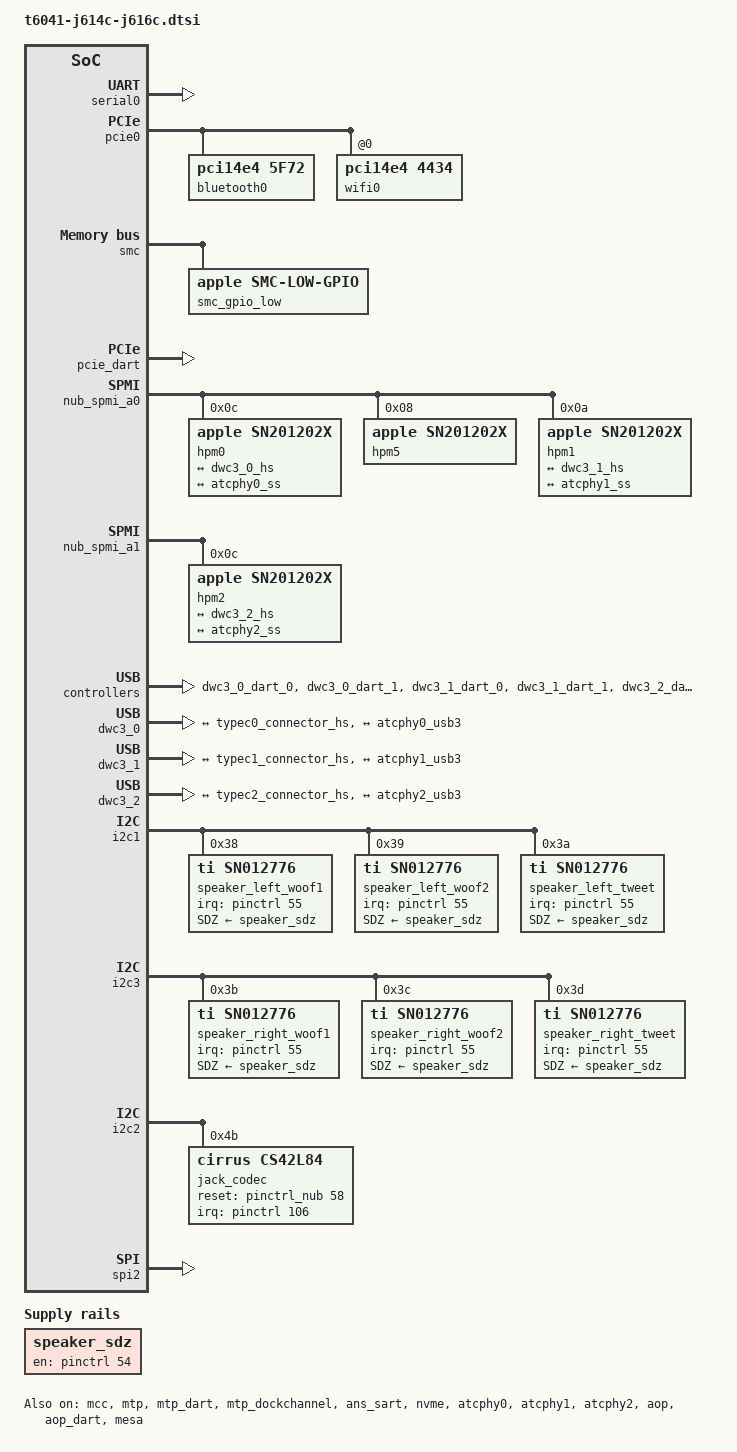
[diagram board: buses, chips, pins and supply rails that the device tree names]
// SPDX-License-Identifier: GPL-2.0+ OR MIT
/*
 * Apple MacBook Pro (14-inch and 16-inch, M4 Max, 2024)
 *
 * The parts the J614c and J616c share. They do not use
 * t604x-j614-j616.dtsi yet: the J616c's trackpad resets, PCIe, keyboard
 * and display chains differ from the J616s's, and are qualified as they
 * are.
 *
 * target-type: J614c / J616c
 *
 * Copyright The Asahi Linux Contributors
 */

#include "t6041-j616c-ane.dtsi"
#include <dt-bindings/gpio/gpio.h>
#include <dt-bindings/thermal/thermal.h>

/ {
	chassis-type = "laptop";

	aliases {
		serial0 = &serial0;
		keyboard = &keyboard;
		wifi0 = "/pcie@1cb0000000/pci@0,0/wifi@0,0";
		bluetooth0 = "/pcie@1cb0000000/pci@0,0/bluetooth@0,1";
		mtp = &mtp;
		dcp = &dcp;
		disp0 = &display;
		disp0-piodma = &disp0_piodma;
		gpu = &gpu;
		sep = &sep;
	};

	chosen {
		#address-cells = <2>;
		#size-cells = <2>;
		ranges;

		stdout-path = "serial0:115200n8";

		framebuffer0: framebuffer@0 {
			compatible = "apple,simple-framebuffer", "simple-framebuffer";
			reg = <0 0 0 0>;
			status = "disabled";
		};
	};

	reserved-memory {
		#address-cells = <2>;
		#size-cells = <2>;
		ranges;
	};

	memory@0 {
		device_type = "memory";
		reg = <0 0 0 0>;
	};

	serial0: serial@429200000 {
		compatible = "apple,s5l-uart";
		reg = <0x4 0x29200000 0x0 0x1000>;
		reg-io-width = <4>;
		interrupt-parent = <&aic>;
		interrupts = <AIC_IRQ 1559 IRQ_TYPE_LEVEL_HIGH>;
		clocks = <&clkref>, <&clkref>;
		clock-names = "uart", "clk_uart_baud0";
	};

	clk_disp0: clock-disp0 {
		compatible = "fixed-clock";
		#clock-cells = <0>;
		clock-frequency = <712000000>;
		clock-output-names = "disp0";
	};

	thermal-zones {
		/*
		 * The PMP's fast die loop is off on these boards (no
		 * apple,fast-die-effort), so these zones are the CPU's only
		 * throttle. The ADT (temp-sensor, fast-die-ctrl-loop) gives the
		 * J614c and J616c the M4 Pro's die limits: a 110 C target and a
		 * 125 C maximum, the sochot level.
		 *
		 * - A zone per SMC core-die sensor runs the power allocator from
		 *   75 C, controls at the 110 C target and throttles only the
		 *   cluster its sensor sits on: Tpx0-5 follow a load on P0,
		 *   Tpx8-D one on P1, Tex0-3 the E cluster. The die zone on TCMz,
		 *   their maximum, controls all three clusters from 115 C as a
		 *   backstop; controlling at 110 C itself, it divided its budget
		 *   by requested power and held P0 at 2.4-2.9 GHz while P1 ran at
		 *   4.1 GHz. The 1 s samples jump by about 10 C, so the zones are
		 *   integral-led.
		 * - The SMC fans follow a power-weighted hot spot (dDT*), not
		 *   TCMz: they only ramp once the CPU runs near 110 C at high
		 *   power, as on macOS. A lower control point holds the power
		 *   below where the fans engage, and the CPU then settles lower.
		 * - sustainable-power is what macOS sustained on a J614c under an
		 *   all-core FMA load: 48-51 W, TCMz 105-110 C. The P clusters
		 *   share one rail meter (PHPC), which reads 25 W with either
		 *   cluster loaded alone, and the E cluster adds about 2 W: 24 W
		 *   per P cluster and 2 W for E.
		 * - Hot at 120 C only reports; critical is the sochot level, after
		 *   three samples.
		 */
		cpu-die-thermal {
			polling-delay-passive = <1000>;
			polling-delay = <1000>;
			integral-time-constant-ms = <20000>;
			critical-samples = <3>;
			sustainable-power = <48000>;
			thermal-sensors = <&smc_hwmon 0>;	/* TCMz */

			trips {
				cpu_die_switch_on: cpu-die-switch-on {
					temperature = <75000>;
					hysteresis = <2000>;
					type = "passive";
				};

				cpu_die_passive: cpu-die-passive {
					temperature = <115000>;
					hysteresis = <5000>;
					type = "passive";
				};

				cpu-die-hot {
					temperature = <120000>;
					hysteresis = <2000>;
					type = "hot";
				};

				cpu-die-critical {
					temperature = <125000>;
					hysteresis = <0>;
					type = "critical";
				};
			};

			cooling-maps {
				map-e {
					trip = <&cpu_die_passive>;
					cooling-device =
						<&cpu_e0 THERMAL_NO_LIMIT THERMAL_NO_LIMIT>,
						<&cpu_e1 THERMAL_NO_LIMIT THERMAL_NO_LIMIT>,
						<&cpu_e2 THERMAL_NO_LIMIT THERMAL_NO_LIMIT>,
						<&cpu_e3 THERMAL_NO_LIMIT THERMAL_NO_LIMIT>;
				};

				map-p0 {
					trip = <&cpu_die_passive>;
					cooling-device =
						<&cpu_p00 THERMAL_NO_LIMIT THERMAL_NO_LIMIT>,
						<&cpu_p01 THERMAL_NO_LIMIT THERMAL_NO_LIMIT>,
						<&cpu_p02 THERMAL_NO_LIMIT THERMAL_NO_LIMIT>,
						<&cpu_p03 THERMAL_NO_LIMIT THERMAL_NO_LIMIT>,
						<&cpu_p04 THERMAL_NO_LIMIT THERMAL_NO_LIMIT>,
						<&cpu_p05 THERMAL_NO_LIMIT THERMAL_NO_LIMIT>;
				};

				map-p1 {
					trip = <&cpu_die_passive>;
					cooling-device =
						<&cpu_p10 THERMAL_NO_LIMIT THERMAL_NO_LIMIT>,
						<&cpu_p11 THERMAL_NO_LIMIT THERMAL_NO_LIMIT>,
						<&cpu_p12 THERMAL_NO_LIMIT THERMAL_NO_LIMIT>,
						<&cpu_p13 THERMAL_NO_LIMIT THERMAL_NO_LIMIT>,
						<&cpu_p14 THERMAL_NO_LIMIT THERMAL_NO_LIMIT>,
						<&cpu_p15 THERMAL_NO_LIMIT THERMAL_NO_LIMIT>;
				};
			};
		};

		cpu-e0-thermal {
			polling-delay-passive = <1000>;
			polling-delay = <1000>;
			integral-time-constant-ms = <20000>;
			critical-samples = <3>;
			sustainable-power = <2000>;
			thermal-sensors = <&smc_hwmon 14>;	/* Tex0 */

			trips {
				cpu_e0_switch_on: trip-switch-on {
					temperature = <75000>;
					hysteresis = <2000>;
					type = "passive";
				};

				cpu_e0_passive: trip-passive {
					temperature = <110000>;
					hysteresis = <5000>;
					type = "passive";
				};

				trip-hot {
					temperature = <120000>;
					hysteresis = <2000>;
					type = "hot";
				};

				trip-critical {
					temperature = <125000>;
					hysteresis = <0>;
					type = "critical";
				};
			};

			cooling-maps {
				map-e {
					trip = <&cpu_e0_passive>;
					cooling-device =
						<&cpu_e0 THERMAL_NO_LIMIT THERMAL_NO_LIMIT>,
						<&cpu_e1 THERMAL_NO_LIMIT THERMAL_NO_LIMIT>,
						<&cpu_e2 THERMAL_NO_LIMIT THERMAL_NO_LIMIT>,
						<&cpu_e3 THERMAL_NO_LIMIT THERMAL_NO_LIMIT>;
				};
			};
		};

		cpu-e1-thermal {
			polling-delay-passive = <1000>;
			polling-delay = <1000>;
			integral-time-constant-ms = <20000>;
			critical-samples = <3>;
			sustainable-power = <2000>;
			thermal-sensors = <&smc_hwmon 15>;	/* Tex1 */

			trips {
				cpu_e1_switch_on: trip-switch-on {
					temperature = <75000>;
					hysteresis = <2000>;
					type = "passive";
				};

				cpu_e1_passive: trip-passive {
					temperature = <110000>;
					hysteresis = <5000>;
					type = "passive";
				};

				trip-hot {
					temperature = <120000>;
					hysteresis = <2000>;
					type = "hot";
				};

				trip-critical {
					temperature = <125000>;
					hysteresis = <0>;
					type = "critical";
				};
			};

			cooling-maps {
				map-e {
					trip = <&cpu_e1_passive>;
					cooling-device =
						<&cpu_e0 THERMAL_NO_LIMIT THERMAL_NO_LIMIT>,
						<&cpu_e1 THERMAL_NO_LIMIT THERMAL_NO_LIMIT>,
						<&cpu_e2 THERMAL_NO_LIMIT THERMAL_NO_LIMIT>,
						<&cpu_e3 THERMAL_NO_LIMIT THERMAL_NO_LIMIT>;
				};
			};
		};

		cpu-e2-thermal {
			polling-delay-passive = <1000>;
			polling-delay = <1000>;
			integral-time-constant-ms = <20000>;
			critical-samples = <3>;
			sustainable-power = <2000>;
			thermal-sensors = <&smc_hwmon 16>;	/* Tex2 */

			trips {
				cpu_e2_switch_on: trip-switch-on {
					temperature = <75000>;
					hysteresis = <2000>;
					type = "passive";
				};

				cpu_e2_passive: trip-passive {
					temperature = <110000>;
					hysteresis = <5000>;
					type = "passive";
				};

				trip-hot {
					temperature = <120000>;
					hysteresis = <2000>;
					type = "hot";
				};

				trip-critical {
					temperature = <125000>;
					hysteresis = <0>;
					type = "critical";
				};
			};

			cooling-maps {
				map-e {
					trip = <&cpu_e2_passive>;
					cooling-device =
						<&cpu_e0 THERMAL_NO_LIMIT THERMAL_NO_LIMIT>,
						<&cpu_e1 THERMAL_NO_LIMIT THERMAL_NO_LIMIT>,
						<&cpu_e2 THERMAL_NO_LIMIT THERMAL_NO_LIMIT>,
						<&cpu_e3 THERMAL_NO_LIMIT THERMAL_NO_LIMIT>;
				};
			};
		};

		cpu-e3-thermal {
			polling-delay-passive = <1000>;
			polling-delay = <1000>;
			integral-time-constant-ms = <20000>;
			critical-samples = <3>;
			sustainable-power = <2000>;
			thermal-sensors = <&smc_hwmon 17>;	/* Tex3 */

			trips {
				cpu_e3_switch_on: trip-switch-on {
					temperature = <75000>;
					hysteresis = <2000>;
					type = "passive";
				};

				cpu_e3_passive: trip-passive {
					temperature = <110000>;
					hysteresis = <5000>;
					type = "passive";
				};

				trip-hot {
					temperature = <120000>;
					hysteresis = <2000>;
					type = "hot";
				};

				trip-critical {
					temperature = <125000>;
					hysteresis = <0>;
					type = "critical";
				};
			};

			cooling-maps {
				map-e {
					trip = <&cpu_e3_passive>;
					cooling-device =
						<&cpu_e0 THERMAL_NO_LIMIT THERMAL_NO_LIMIT>,
						<&cpu_e1 THERMAL_NO_LIMIT THERMAL_NO_LIMIT>,
						<&cpu_e2 THERMAL_NO_LIMIT THERMAL_NO_LIMIT>,
						<&cpu_e3 THERMAL_NO_LIMIT THERMAL_NO_LIMIT>;
				};
			};
		};

		cpu-p00-thermal {
			polling-delay-passive = <1000>;
			polling-delay = <1000>;
			integral-time-constant-ms = <20000>;
			critical-samples = <3>;
			sustainable-power = <24000>;
			thermal-sensors = <&smc_hwmon 2>;	/* Tpx0 */

			trips {
				cpu_p00_switch_on: trip-switch-on {
					temperature = <75000>;
					hysteresis = <2000>;
					type = "passive";
				};

				cpu_p00_passive: trip-passive {
					temperature = <110000>;
					hysteresis = <5000>;
					type = "passive";
				};

				trip-hot {
					temperature = <120000>;
					hysteresis = <2000>;
					type = "hot";
				};

				trip-critical {
					temperature = <125000>;
					hysteresis = <0>;
					type = "critical";
				};
			};

			cooling-maps {
				map-p0 {
					trip = <&cpu_p00_passive>;
					cooling-device =
						<&cpu_p00 THERMAL_NO_LIMIT THERMAL_NO_LIMIT>,
						<&cpu_p01 THERMAL_NO_LIMIT THERMAL_NO_LIMIT>,
						<&cpu_p02 THERMAL_NO_LIMIT THERMAL_NO_LIMIT>,
						<&cpu_p03 THERMAL_NO_LIMIT THERMAL_NO_LIMIT>,
						<&cpu_p04 THERMAL_NO_LIMIT THERMAL_NO_LIMIT>,
						<&cpu_p05 THERMAL_NO_LIMIT THERMAL_NO_LIMIT>;
				};
			};
		};

		cpu-p01-thermal {
			polling-delay-passive = <1000>;
			polling-delay = <1000>;
			integral-time-constant-ms = <20000>;
			critical-samples = <3>;
			sustainable-power = <24000>;
			thermal-sensors = <&smc_hwmon 3>;	/* Tpx1 */

			trips {
				cpu_p01_switch_on: trip-switch-on {
					temperature = <75000>;
					hysteresis = <2000>;
					type = "passive";
				};

				cpu_p01_passive: trip-passive {
					temperature = <110000>;
					hysteresis = <5000>;
					type = "passive";
				};

				trip-hot {
					temperature = <120000>;
					hysteresis = <2000>;
					type = "hot";
				};

				trip-critical {
					temperature = <125000>;
					hysteresis = <0>;
					type = "critical";
				};
			};

			cooling-maps {
				map-p0 {
					trip = <&cpu_p01_passive>;
					cooling-device =
						<&cpu_p00 THERMAL_NO_LIMIT THERMAL_NO_LIMIT>,
						<&cpu_p01 THERMAL_NO_LIMIT THERMAL_NO_LIMIT>,
						<&cpu_p02 THERMAL_NO_LIMIT THERMAL_NO_LIMIT>,
						<&cpu_p03 THERMAL_NO_LIMIT THERMAL_NO_LIMIT>,
						<&cpu_p04 THERMAL_NO_LIMIT THERMAL_NO_LIMIT>,
						<&cpu_p05 THERMAL_NO_LIMIT THERMAL_NO_LIMIT>;
				};
			};
		};

		cpu-p02-thermal {
			polling-delay-passive = <1000>;
			polling-delay = <1000>;
			integral-time-constant-ms = <20000>;
			critical-samples = <3>;
			sustainable-power = <24000>;
			thermal-sensors = <&smc_hwmon 4>;	/* Tpx2 */

			trips {
				cpu_p02_switch_on: trip-switch-on {
					temperature = <75000>;
					hysteresis = <2000>;
					type = "passive";
				};

				cpu_p02_passive: trip-passive {
					temperature = <110000>;
					hysteresis = <5000>;
					type = "passive";
				};

				trip-hot {
					temperature = <120000>;
					hysteresis = <2000>;
					type = "hot";
				};

				trip-critical {
					temperature = <125000>;
					hysteresis = <0>;
					type = "critical";
				};
			};

			cooling-maps {
				map-p0 {
					trip = <&cpu_p02_passive>;
					cooling-device =
						<&cpu_p00 THERMAL_NO_LIMIT THERMAL_NO_LIMIT>,
						<&cpu_p01 THERMAL_NO_LIMIT THERMAL_NO_LIMIT>,
						<&cpu_p02 THERMAL_NO_LIMIT THERMAL_NO_LIMIT>,
						<&cpu_p03 THERMAL_NO_LIMIT THERMAL_NO_LIMIT>,
						<&cpu_p04 THERMAL_NO_LIMIT THERMAL_NO_LIMIT>,
						<&cpu_p05 THERMAL_NO_LIMIT THERMAL_NO_LIMIT>;
				};
			};
		};

		cpu-p03-thermal {
			polling-delay-passive = <1000>;
			polling-delay = <1000>;
			integral-time-constant-ms = <20000>;
			critical-samples = <3>;
			sustainable-power = <24000>;
			thermal-sensors = <&smc_hwmon 5>;	/* Tpx3 */

			trips {
				cpu_p03_switch_on: trip-switch-on {
					temperature = <75000>;
					hysteresis = <2000>;
					type = "passive";
				};

				cpu_p03_passive: trip-passive {
					temperature = <110000>;
					hysteresis = <5000>;
					type = "passive";
				};

				trip-hot {
					temperature = <120000>;
					hysteresis = <2000>;
					type = "hot";
				};

				trip-critical {
					temperature = <125000>;
					hysteresis = <0>;
					type = "critical";
				};
			};

			cooling-maps {
				map-p0 {
					trip = <&cpu_p03_passive>;
					cooling-device =
						<&cpu_p00 THERMAL_NO_LIMIT THERMAL_NO_LIMIT>,
						<&cpu_p01 THERMAL_NO_LIMIT THERMAL_NO_LIMIT>,
						<&cpu_p02 THERMAL_NO_LIMIT THERMAL_NO_LIMIT>,
						<&cpu_p03 THERMAL_NO_LIMIT THERMAL_NO_LIMIT>,
						<&cpu_p04 THERMAL_NO_LIMIT THERMAL_NO_LIMIT>,
						<&cpu_p05 THERMAL_NO_LIMIT THERMAL_NO_LIMIT>;
				};
			};
		};

		cpu-p04-thermal {
			polling-delay-passive = <1000>;
			polling-delay = <1000>;
			integral-time-constant-ms = <20000>;
			critical-samples = <3>;
			sustainable-power = <24000>;
			thermal-sensors = <&smc_hwmon 6>;	/* Tpx4 */

			trips {
				cpu_p04_switch_on: trip-switch-on {
					temperature = <75000>;
					hysteresis = <2000>;
					type = "passive";
				};

				cpu_p04_passive: trip-passive {
					temperature = <110000>;
					hysteresis = <5000>;
					type = "passive";
				};

				trip-hot {
					temperature = <120000>;
					hysteresis = <2000>;
					type = "hot";
				};

				trip-critical {
					temperature = <125000>;
					hysteresis = <0>;
					type = "critical";
				};
			};

			cooling-maps {
				map-p0 {
					trip = <&cpu_p04_passive>;
					cooling-device =
						<&cpu_p00 THERMAL_NO_LIMIT THERMAL_NO_LIMIT>,
						<&cpu_p01 THERMAL_NO_LIMIT THERMAL_NO_LIMIT>,
						<&cpu_p02 THERMAL_NO_LIMIT THERMAL_NO_LIMIT>,
						<&cpu_p03 THERMAL_NO_LIMIT THERMAL_NO_LIMIT>,
						<&cpu_p04 THERMAL_NO_LIMIT THERMAL_NO_LIMIT>,
						<&cpu_p05 THERMAL_NO_LIMIT THERMAL_NO_LIMIT>;
				};
			};
		};

		cpu-p05-thermal {
			polling-delay-passive = <1000>;
			polling-delay = <1000>;
			integral-time-constant-ms = <20000>;
			critical-samples = <3>;
			sustainable-power = <24000>;
			thermal-sensors = <&smc_hwmon 7>;	/* Tpx5 */

			trips {
				cpu_p05_switch_on: trip-switch-on {
					temperature = <75000>;
					hysteresis = <2000>;
					type = "passive";
				};

				cpu_p05_passive: trip-passive {
					temperature = <110000>;
					hysteresis = <5000>;
					type = "passive";
				};

				trip-hot {
					temperature = <120000>;
					hysteresis = <2000>;
					type = "hot";
				};

				trip-critical {
					temperature = <125000>;
					hysteresis = <0>;
					type = "critical";
				};
			};

			cooling-maps {
				map-p0 {
					trip = <&cpu_p05_passive>;
					cooling-device =
						<&cpu_p00 THERMAL_NO_LIMIT THERMAL_NO_LIMIT>,
						<&cpu_p01 THERMAL_NO_LIMIT THERMAL_NO_LIMIT>,
						<&cpu_p02 THERMAL_NO_LIMIT THERMAL_NO_LIMIT>,
						<&cpu_p03 THERMAL_NO_LIMIT THERMAL_NO_LIMIT>,
						<&cpu_p04 THERMAL_NO_LIMIT THERMAL_NO_LIMIT>,
						<&cpu_p05 THERMAL_NO_LIMIT THERMAL_NO_LIMIT>;
				};
			};
		};

		cpu-p10-thermal {
			polling-delay-passive = <1000>;
			polling-delay = <1000>;
			integral-time-constant-ms = <20000>;
			critical-samples = <3>;
			sustainable-power = <24000>;
			thermal-sensors = <&smc_hwmon 8>;	/* Tpx8 */

			trips {
				cpu_p10_switch_on: trip-switch-on {
					temperature = <75000>;
					hysteresis = <2000>;
					type = "passive";
				};

				cpu_p10_passive: trip-passive {
					temperature = <110000>;
					hysteresis = <5000>;
					type = "passive";
				};

				trip-hot {
					temperature = <120000>;
					hysteresis = <2000>;
					type = "hot";
				};

				trip-critical {
					temperature = <125000>;
					hysteresis = <0>;
					type = "critical";
				};
			};

			cooling-maps {
				map-p1 {
					trip = <&cpu_p10_passive>;
					cooling-device =
						<&cpu_p10 THERMAL_NO_LIMIT THERMAL_NO_LIMIT>,
						<&cpu_p11 THERMAL_NO_LIMIT THERMAL_NO_LIMIT>,
						<&cpu_p12 THERMAL_NO_LIMIT THERMAL_NO_LIMIT>,
						<&cpu_p13 THERMAL_NO_LIMIT THERMAL_NO_LIMIT>,
						<&cpu_p14 THERMAL_NO_LIMIT THERMAL_NO_LIMIT>,
						<&cpu_p15 THERMAL_NO_LIMIT THERMAL_NO_LIMIT>;
				};
			};
		};

		cpu-p11-thermal {
			polling-delay-passive = <1000>;
			polling-delay = <1000>;
			integral-time-constant-ms = <20000>;
			critical-samples = <3>;
			sustainable-power = <24000>;
			thermal-sensors = <&smc_hwmon 9>;	/* Tpx9 */

			trips {
				cpu_p11_switch_on: trip-switch-on {
					temperature = <75000>;
					hysteresis = <2000>;
					type = "passive";
				};

				cpu_p11_passive: trip-passive {
					temperature = <110000>;
					hysteresis = <5000>;
					type = "passive";
				};

				trip-hot {
					temperature = <120000>;
					hysteresis = <2000>;
					type = "hot";
				};

				trip-critical {
					temperature = <125000>;
					hysteresis = <0>;
					type = "critical";
				};
			};

			cooling-maps {
				map-p1 {
					trip = <&cpu_p11_passive>;
					cooling-device =
						<&cpu_p10 THERMAL_NO_LIMIT THERMAL_NO_LIMIT>,
						<&cpu_p11 THERMAL_NO_LIMIT THERMAL_NO_LIMIT>,
						<&cpu_p12 THERMAL_NO_LIMIT THERMAL_NO_LIMIT>,
						<&cpu_p13 THERMAL_NO_LIMIT THERMAL_NO_LIMIT>,
						<&cpu_p14 THERMAL_NO_LIMIT THERMAL_NO_LIMIT>,
						<&cpu_p15 THERMAL_NO_LIMIT THERMAL_NO_LIMIT>;
				};
			};
		};

		cpu-p12-thermal {
			polling-delay-passive = <1000>;
			polling-delay = <1000>;
			integral-time-constant-ms = <20000>;
			critical-samples = <3>;
			sustainable-power = <24000>;
			thermal-sensors = <&smc_hwmon 10>;	/* TpxA */

			trips {
				cpu_p12_switch_on: trip-switch-on {
					temperature = <75000>;
					hysteresis = <2000>;
					type = "passive";
				};

				cpu_p12_passive: trip-passive {
					temperature = <110000>;
					hysteresis = <5000>;
					type = "passive";
				};

				trip-hot {
					temperature = <120000>;
					hysteresis = <2000>;
					type = "hot";
				};

				trip-critical {
					temperature = <125000>;
					hysteresis = <0>;
					type = "critical";
				};
			};

			cooling-maps {
				map-p1 {
					trip = <&cpu_p12_passive>;
					cooling-device =
						<&cpu_p10 THERMAL_NO_LIMIT THERMAL_NO_LIMIT>,
						<&cpu_p11 THERMAL_NO_LIMIT THERMAL_NO_LIMIT>,
						<&cpu_p12 THERMAL_NO_LIMIT THERMAL_NO_LIMIT>,
						<&cpu_p13 THERMAL_NO_LIMIT THERMAL_NO_LIMIT>,
						<&cpu_p14 THERMAL_NO_LIMIT THERMAL_NO_LIMIT>,
						<&cpu_p15 THERMAL_NO_LIMIT THERMAL_NO_LIMIT>;
				};
			};
		};

		cpu-p13-thermal {
			polling-delay-passive = <1000>;
			polling-delay = <1000>;
			integral-time-constant-ms = <20000>;
			critical-samples = <3>;
			sustainable-power = <24000>;
			thermal-sensors = <&smc_hwmon 11>;	/* TpxB */

			trips {
				cpu_p13_switch_on: trip-switch-on {
					temperature = <75000>;
					hysteresis = <2000>;
					type = "passive";
				};

				cpu_p13_passive: trip-passive {
					temperature = <110000>;
					hysteresis = <5000>;
					type = "passive";
				};

				trip-hot {
					temperature = <120000>;
					hysteresis = <2000>;
					type = "hot";
				};

				trip-critical {
					temperature = <125000>;
					hysteresis = <0>;
					type = "critical";
				};
			};

			cooling-maps {
				map-p1 {
					trip = <&cpu_p13_passive>;
					cooling-device =
						<&cpu_p10 THERMAL_NO_LIMIT THERMAL_NO_LIMIT>,
						<&cpu_p11 THERMAL_NO_LIMIT THERMAL_NO_LIMIT>,
						<&cpu_p12 THERMAL_NO_LIMIT THERMAL_NO_LIMIT>,
						<&cpu_p13 THERMAL_NO_LIMIT THERMAL_NO_LIMIT>,
						<&cpu_p14 THERMAL_NO_LIMIT THERMAL_NO_LIMIT>,
						<&cpu_p15 THERMAL_NO_LIMIT THERMAL_NO_LIMIT>;
				};
			};
		};

		cpu-p14-thermal {
			polling-delay-passive = <1000>;
			polling-delay = <1000>;
			integral-time-constant-ms = <20000>;
			critical-samples = <3>;
			sustainable-power = <24000>;
			thermal-sensors = <&smc_hwmon 12>;	/* TpxC */

			trips {
				cpu_p14_switch_on: trip-switch-on {
					temperature = <75000>;
					hysteresis = <2000>;
					type = "passive";
				};

				cpu_p14_passive: trip-passive {
					temperature = <110000>;
					hysteresis = <5000>;
					type = "passive";
				};

				trip-hot {
					temperature = <120000>;
					hysteresis = <2000>;
					type = "hot";
				};

				trip-critical {
					temperature = <125000>;
					hysteresis = <0>;
					type = "critical";
				};
			};

			cooling-maps {
				map-p1 {
					trip = <&cpu_p14_passive>;
					cooling-device =
						<&cpu_p10 THERMAL_NO_LIMIT THERMAL_NO_LIMIT>,
						<&cpu_p11 THERMAL_NO_LIMIT THERMAL_NO_LIMIT>,
						<&cpu_p12 THERMAL_NO_LIMIT THERMAL_NO_LIMIT>,
						<&cpu_p13 THERMAL_NO_LIMIT THERMAL_NO_LIMIT>,
						<&cpu_p14 THERMAL_NO_LIMIT THERMAL_NO_LIMIT>,
						<&cpu_p15 THERMAL_NO_LIMIT THERMAL_NO_LIMIT>;
				};
			};
		};

		cpu-p15-thermal {
			polling-delay-passive = <1000>;
			polling-delay = <1000>;
			integral-time-constant-ms = <20000>;
			critical-samples = <3>;
			sustainable-power = <24000>;
			thermal-sensors = <&smc_hwmon 13>;	/* TpxD */

			trips {
				cpu_p15_switch_on: trip-switch-on {
					temperature = <75000>;
					hysteresis = <2000>;
					type = "passive";
				};

				cpu_p15_passive: trip-passive {
					temperature = <110000>;
					hysteresis = <5000>;
					type = "passive";
				};

				trip-hot {
					temperature = <120000>;
					hysteresis = <2000>;
					type = "hot";
				};

				trip-critical {
					temperature = <125000>;
					hysteresis = <0>;
					type = "critical";
				};
			};

			cooling-maps {
				map-p1 {
					trip = <&cpu_p15_passive>;
					cooling-device =
						<&cpu_p10 THERMAL_NO_LIMIT THERMAL_NO_LIMIT>,
						<&cpu_p11 THERMAL_NO_LIMIT THERMAL_NO_LIMIT>,
						<&cpu_p12 THERMAL_NO_LIMIT THERMAL_NO_LIMIT>,
						<&cpu_p13 THERMAL_NO_LIMIT THERMAL_NO_LIMIT>,
						<&cpu_p14 THERMAL_NO_LIMIT THERMAL_NO_LIMIT>,
						<&cpu_p15 THERMAL_NO_LIMIT THERMAL_NO_LIMIT>;
				};
			};
		};

		/*
		 * GPU zones, with the M4 Pro's trips: the GPU firmware limits
		 * itself from 101 C, where these shed CPU power (allocator on at
		 * 90 C), and they shut down at 118 C after three samples. Each
		 * zone reads one of the GPU's hotter sensors; which cluster each
		 * sits on is not known, and under load they read within 1 C.
		 */
		gpu0-thermal {
			polling-delay-passive = <1000>;
			polling-delay = <1000>;
			critical-samples = <3>;
			thermal-sensors = <&smc_hwmon 23>;	/* Tg05 */

			trips {
				gpu0_switch_on: trip-switch-on {
					temperature = <90000>;
					hysteresis = <2000>;
					type = "passive";
				};

				gpu0_passive: trip-passive {
					temperature = <101000>;
					hysteresis = <5000>;
					type = "passive";
				};

				trip-critical {
					temperature = <118000>;
					hysteresis = <0>;
					type = "critical";
				};
			};

			cooling-maps {
				map-e {
					trip = <&gpu0_passive>;
					cooling-device =
						<&cpu_e0 THERMAL_NO_LIMIT THERMAL_NO_LIMIT>,
						<&cpu_e1 THERMAL_NO_LIMIT THERMAL_NO_LIMIT>,
						<&cpu_e2 THERMAL_NO_LIMIT THERMAL_NO_LIMIT>,
						<&cpu_e3 THERMAL_NO_LIMIT THERMAL_NO_LIMIT>;
				};

				map-p0 {
					trip = <&gpu0_passive>;
					cooling-device =
						<&cpu_p00 THERMAL_NO_LIMIT THERMAL_NO_LIMIT>,
						<&cpu_p01 THERMAL_NO_LIMIT THERMAL_NO_LIMIT>,
						<&cpu_p02 THERMAL_NO_LIMIT THERMAL_NO_LIMIT>,
						<&cpu_p03 THERMAL_NO_LIMIT THERMAL_NO_LIMIT>,
						<&cpu_p04 THERMAL_NO_LIMIT THERMAL_NO_LIMIT>,
						<&cpu_p05 THERMAL_NO_LIMIT THERMAL_NO_LIMIT>;
				};

				map-p1 {
					trip = <&gpu0_passive>;
					cooling-device =
						<&cpu_p10 THERMAL_NO_LIMIT THERMAL_NO_LIMIT>,
						<&cpu_p11 THERMAL_NO_LIMIT THERMAL_NO_LIMIT>,
						<&cpu_p12 THERMAL_NO_LIMIT THERMAL_NO_LIMIT>,
						<&cpu_p13 THERMAL_NO_LIMIT THERMAL_NO_LIMIT>,
						<&cpu_p14 THERMAL_NO_LIMIT THERMAL_NO_LIMIT>,
						<&cpu_p15 THERMAL_NO_LIMIT THERMAL_NO_LIMIT>;
				};
			};
		};

		gpu1-thermal {
			polling-delay-passive = <1000>;
			polling-delay = <1000>;
			critical-samples = <3>;
			thermal-sensors = <&smc_hwmon 39>;	/* Tg1V */

			trips {
				gpu1_switch_on: trip-switch-on {
					temperature = <90000>;
					hysteresis = <2000>;
					type = "passive";
				};

				gpu1_passive: trip-passive {
					temperature = <101000>;
					hysteresis = <5000>;
					type = "passive";
				};

				trip-critical {
					temperature = <118000>;
					hysteresis = <0>;
					type = "critical";
				};
			};

			cooling-maps {
				map-e {
					trip = <&gpu1_passive>;
					cooling-device =
						<&cpu_e0 THERMAL_NO_LIMIT THERMAL_NO_LIMIT>,
						<&cpu_e1 THERMAL_NO_LIMIT THERMAL_NO_LIMIT>,
						<&cpu_e2 THERMAL_NO_LIMIT THERMAL_NO_LIMIT>,
						<&cpu_e3 THERMAL_NO_LIMIT THERMAL_NO_LIMIT>;
				};

				map-p0 {
					trip = <&gpu1_passive>;
					cooling-device =
						<&cpu_p00 THERMAL_NO_LIMIT THERMAL_NO_LIMIT>,
						<&cpu_p01 THERMAL_NO_LIMIT THERMAL_NO_LIMIT>,
						<&cpu_p02 THERMAL_NO_LIMIT THERMAL_NO_LIMIT>,
						<&cpu_p03 THERMAL_NO_LIMIT THERMAL_NO_LIMIT>,
						<&cpu_p04 THERMAL_NO_LIMIT THERMAL_NO_LIMIT>,
						<&cpu_p05 THERMAL_NO_LIMIT THERMAL_NO_LIMIT>;
				};

				map-p1 {
					trip = <&gpu1_passive>;
					cooling-device =
						<&cpu_p10 THERMAL_NO_LIMIT THERMAL_NO_LIMIT>,
						<&cpu_p11 THERMAL_NO_LIMIT THERMAL_NO_LIMIT>,
						<&cpu_p12 THERMAL_NO_LIMIT THERMAL_NO_LIMIT>,
						<&cpu_p13 THERMAL_NO_LIMIT THERMAL_NO_LIMIT>,
						<&cpu_p14 THERMAL_NO_LIMIT THERMAL_NO_LIMIT>,
						<&cpu_p15 THERMAL_NO_LIMIT THERMAL_NO_LIMIT>;
				};
			};
		};

		gpu2-thermal {
			polling-delay-passive = <1000>;
			polling-delay = <1000>;
			critical-samples = <3>;
			thermal-sensors = <&smc_hwmon 46>;	/* Tg2Q */

			trips {
				gpu2_switch_on: trip-switch-on {
					temperature = <90000>;
					hysteresis = <2000>;
					type = "passive";
				};

				gpu2_passive: trip-passive {
					temperature = <101000>;
					hysteresis = <5000>;
					type = "passive";
				};

				trip-critical {
					temperature = <118000>;
					hysteresis = <0>;
					type = "critical";
				};
			};

			cooling-maps {
				map-e {
					trip = <&gpu2_passive>;
					cooling-device =
						<&cpu_e0 THERMAL_NO_LIMIT THERMAL_NO_LIMIT>,
						<&cpu_e1 THERMAL_NO_LIMIT THERMAL_NO_LIMIT>,
						<&cpu_e2 THERMAL_NO_LIMIT THERMAL_NO_LIMIT>,
						<&cpu_e3 THERMAL_NO_LIMIT THERMAL_NO_LIMIT>;
				};

				map-p0 {
					trip = <&gpu2_passive>;
					cooling-device =
						<&cpu_p00 THERMAL_NO_LIMIT THERMAL_NO_LIMIT>,
						<&cpu_p01 THERMAL_NO_LIMIT THERMAL_NO_LIMIT>,
						<&cpu_p02 THERMAL_NO_LIMIT THERMAL_NO_LIMIT>,
						<&cpu_p03 THERMAL_NO_LIMIT THERMAL_NO_LIMIT>,
						<&cpu_p04 THERMAL_NO_LIMIT THERMAL_NO_LIMIT>,
						<&cpu_p05 THERMAL_NO_LIMIT THERMAL_NO_LIMIT>;
				};

				map-p1 {
					trip = <&gpu2_passive>;
					cooling-device =
						<&cpu_p10 THERMAL_NO_LIMIT THERMAL_NO_LIMIT>,
						<&cpu_p11 THERMAL_NO_LIMIT THERMAL_NO_LIMIT>,
						<&cpu_p12 THERMAL_NO_LIMIT THERMAL_NO_LIMIT>,
						<&cpu_p13 THERMAL_NO_LIMIT THERMAL_NO_LIMIT>,
						<&cpu_p14 THERMAL_NO_LIMIT THERMAL_NO_LIMIT>,
						<&cpu_p15 THERMAL_NO_LIMIT THERMAL_NO_LIMIT>;
				};
			};
		};

		gpu3-thermal {
			polling-delay-passive = <1000>;
			polling-delay = <1000>;
			critical-samples = <3>;
			thermal-sensors = <&smc_hwmon 54>;	/* Tg3q */

			trips {
				gpu3_switch_on: trip-switch-on {
					temperature = <90000>;
					hysteresis = <2000>;
					type = "passive";
				};

				gpu3_passive: trip-passive {
					temperature = <101000>;
					hysteresis = <5000>;
					type = "passive";
				};

				trip-critical {
					temperature = <118000>;
					hysteresis = <0>;
					type = "critical";
				};
			};

			cooling-maps {
				map-e {
					trip = <&gpu3_passive>;
					cooling-device =
						<&cpu_e0 THERMAL_NO_LIMIT THERMAL_NO_LIMIT>,
						<&cpu_e1 THERMAL_NO_LIMIT THERMAL_NO_LIMIT>,
						<&cpu_e2 THERMAL_NO_LIMIT THERMAL_NO_LIMIT>,
						<&cpu_e3 THERMAL_NO_LIMIT THERMAL_NO_LIMIT>;
				};

				map-p0 {
					trip = <&gpu3_passive>;
					cooling-device =
						<&cpu_p00 THERMAL_NO_LIMIT THERMAL_NO_LIMIT>,
						<&cpu_p01 THERMAL_NO_LIMIT THERMAL_NO_LIMIT>,
						<&cpu_p02 THERMAL_NO_LIMIT THERMAL_NO_LIMIT>,
						<&cpu_p03 THERMAL_NO_LIMIT THERMAL_NO_LIMIT>,
						<&cpu_p04 THERMAL_NO_LIMIT THERMAL_NO_LIMIT>,
						<&cpu_p05 THERMAL_NO_LIMIT THERMAL_NO_LIMIT>;
				};

				map-p1 {
					trip = <&gpu3_passive>;
					cooling-device =
						<&cpu_p10 THERMAL_NO_LIMIT THERMAL_NO_LIMIT>,
						<&cpu_p11 THERMAL_NO_LIMIT THERMAL_NO_LIMIT>,
						<&cpu_p12 THERMAL_NO_LIMIT THERMAL_NO_LIMIT>,
						<&cpu_p13 THERMAL_NO_LIMIT THERMAL_NO_LIMIT>,
						<&cpu_p14 THERMAL_NO_LIMIT THERMAL_NO_LIMIT>,
						<&cpu_p15 THERMAL_NO_LIMIT THERMAL_NO_LIMIT>;
				};
			};
		};
	};
};

&cpuidle {
	status = "okay";
};

&cpufreq_e {
	/delete-property/ apple,fast-die-effort;
};

&cpufreq_p0 {
	/delete-property/ apple,fast-die-effort;
};

&cpufreq_p1 {
	/delete-property/ apple,fast-die-effort;
};

&wdt {
	timeout-sec = <140>;
};

&smc {
	status = "okay";

	smc_gpio_low: gpio-low {
		compatible = "apple,smc-low-gpio";
		gpio-controller;
		#gpio-cells = <2>;
	};
};

&smc_mbox {
	status = "okay";
};

&nub_spmi0 {
	status = "okay";
};

&mcc {
	status = "okay";
};

&smc_hwmon {
	temperature-TCMz {
		apple,key-id = "TCMz";
		label = "CPU Die Max";
	};

	temperature-TCMb {
		apple,key-id = "TCMb";
		label = "CPU TCMb";
	};

	temperature-Tpx0 {
		apple,key-id = "Tpx0";
		label = "CPU Tpx0";
	};

	temperature-Tpx1 {
		apple,key-id = "Tpx1";
		label = "CPU Tpx1";
	};

	temperature-Tpx2 {
		apple,key-id = "Tpx2";
		label = "CPU Tpx2";
	};

	temperature-Tpx3 {
		apple,key-id = "Tpx3";
		label = "CPU Tpx3";
	};

	temperature-Tpx4 {
		apple,key-id = "Tpx4";
		label = "CPU Tpx4";
	};

	temperature-Tpx5 {
		apple,key-id = "Tpx5";
		label = "CPU Tpx5";
	};

	temperature-Tpx8 {
		apple,key-id = "Tpx8";
		label = "CPU Tpx8";
	};

	temperature-Tpx9 {
		apple,key-id = "Tpx9";
		label = "CPU Tpx9";
	};

	temperature-TpxA {
		apple,key-id = "TpxA";
		label = "CPU TpxA";
	};

	temperature-TpxB {
		apple,key-id = "TpxB";
		label = "CPU TpxB";
	};

	temperature-TpxC {
		apple,key-id = "TpxC";
		label = "CPU TpxC";
	};

	temperature-TpxD {
		apple,key-id = "TpxD";
		label = "CPU TpxD";
	};

	temperature-Tex0 {
		apple,key-id = "Tex0";
		label = "CPU Tex0";
	};

	temperature-Tex1 {
		apple,key-id = "Tex1";
		label = "CPU Tex1";
	};

	temperature-Tex2 {
		apple,key-id = "Tex2";
		label = "CPU Tex2";
	};

	temperature-Tex3 {
		apple,key-id = "Tex3";
		label = "CPU Tex3";
	};

	temperature-TH0x {
		apple,key-id = "TH0x";
		label = "NAND Flash Temperature";
	};

	temperature-TB0T {
		apple,key-id = "TB0T";
		label = "Battery Hotspot";
	};

	temperature-TCHP {
		apple,key-id = "TCHP";
		label = "Charge Regulator Temp";
	};

	temperature-TW0P {
		apple,key-id = "TW0P";
		label = "WiFi/BT Module Temp";
	};

	/*
	 * The 33 GPU sensors of the J614c SMC key table (macOS 26.6.2). All
	 * rose 15-17 C together under a GPU load. Sixteen read about 5.5 C
	 * above the other seventeen, idle and loaded; the GPU zones use those.
	 * While the GPU is powered off the SMC publishes placeholders below
	 * 10 C, as on the M4 Pro.
	 */
	temperature-Tg04 {
		apple,key-id = "Tg04";
		label = "GPU Tg04";
		apple,no-data-below-millicelsius = <10000>;
	};

	temperature-Tg05 {
		apple,key-id = "Tg05";
		label = "GPU Tg05";
		apple,no-data-below-millicelsius = <10000>;
	};

	temperature-Tg0K {
		apple,key-id = "Tg0K";
		label = "GPU Tg0K";
		apple,no-data-below-millicelsius = <10000>;
	};

	temperature-Tg0L {
		apple,key-id = "Tg0L";
		label = "GPU Tg0L";
		apple,no-data-below-millicelsius = <10000>;
	};

	temperature-Tg0R {
		apple,key-id = "Tg0R";
		label = "GPU Tg0R";
		apple,no-data-below-millicelsius = <10000>;
	};

	temperature-Tg0S {
		apple,key-id = "Tg0S";
		label = "GPU Tg0S";
		apple,no-data-below-millicelsius = <10000>;
	};

	temperature-Tg0X {
		apple,key-id = "Tg0X";
		label = "GPU Tg0X";
		apple,no-data-below-millicelsius = <10000>;
	};

	temperature-Tg0Y {
		apple,key-id = "Tg0Y";
		label = "GPU Tg0Y";
		apple,no-data-below-millicelsius = <10000>;
	};

	temperature-Tg0d {
		apple,key-id = "Tg0d";
		label = "GPU Tg0d";
		apple,no-data-below-millicelsius = <10000>;
	};

	temperature-Tg0e {
		apple,key-id = "Tg0e";
		label = "GPU Tg0e";
		apple,no-data-below-millicelsius = <10000>;
	};

	temperature-Tg0j {
		apple,key-id = "Tg0j";
		label = "GPU Tg0j";
		apple,no-data-below-millicelsius = <10000>;
	};

	temperature-Tg0k {
		apple,key-id = "Tg0k";
		label = "GPU Tg0k";
		apple,no-data-below-millicelsius = <10000>;
	};

	temperature-Tg0y {
		apple,key-id = "Tg0y";
		label = "GPU Tg0y";
		apple,no-data-below-millicelsius = <10000>;
	};

	temperature-Tg0z {
		apple,key-id = "Tg0z";
		label = "GPU Tg0z";
		apple,no-data-below-millicelsius = <10000>;
	};

	temperature-Tg1E {
		apple,key-id = "Tg1E";
		label = "GPU Tg1E";
		apple,no-data-below-millicelsius = <10000>;
	};

	temperature-Tg1F {
		apple,key-id = "Tg1F";
		label = "GPU Tg1F";
		apple,no-data-below-millicelsius = <10000>;
	};

	temperature-Tg1U {
		apple,key-id = "Tg1U";
		label = "GPU Tg1U";
		apple,no-data-below-millicelsius = <10000>;
	};

	temperature-Tg1V {
		apple,key-id = "Tg1V";
		label = "GPU Tg1V";
		apple,no-data-below-millicelsius = <10000>;
	};

	temperature-Tg1c {
		apple,key-id = "Tg1c";
		label = "GPU Tg1c";
		apple,no-data-below-millicelsius = <10000>;
	};

	temperature-Tg1d {
		apple,key-id = "Tg1d";
		label = "GPU Tg1d";
		apple,no-data-below-millicelsius = <10000>;
	};

	temperature-Tg1k {
		apple,key-id = "Tg1k";
		label = "GPU Tg1k";
		apple,no-data-below-millicelsius = <10000>;
	};

	temperature-Tg1l {
		apple,key-id = "Tg1l";
		label = "GPU Tg1l";
		apple,no-data-below-millicelsius = <10000>;
	};

	temperature-Tg22 {
		apple,key-id = "Tg22";
		label = "GPU Tg22";
		apple,no-data-below-millicelsius = <10000>;
	};

	temperature-Tg2I {
		apple,key-id = "Tg2I";
		label = "GPU Tg2I";
		apple,no-data-below-millicelsius = <10000>;
	};

	temperature-Tg2Q {
		apple,key-id = "Tg2Q";
		label = "GPU Tg2Q";
		apple,no-data-below-millicelsius = <10000>;
	};

	temperature-Tg2Y {
		apple,key-id = "Tg2Y";
		label = "GPU Tg2Y";
		apple,no-data-below-millicelsius = <10000>;
	};

	temperature-Tg2g {
		apple,key-id = "Tg2g";
		label = "GPU Tg2g";
		apple,no-data-below-millicelsius = <10000>;
	};

	temperature-Tg2o {
		apple,key-id = "Tg2o";
		label = "GPU Tg2o";
		apple,no-data-below-millicelsius = <10000>;
	};

	temperature-Tg34 {
		apple,key-id = "Tg34";
		label = "GPU Tg34";
		apple,no-data-below-millicelsius = <10000>;
	};

	temperature-Tg3K {
		apple,key-id = "Tg3K";
		label = "GPU Tg3K";
		apple,no-data-below-millicelsius = <10000>;
	};

	temperature-Tg3a {
		apple,key-id = "Tg3a";
		label = "GPU Tg3a";
		apple,no-data-below-millicelsius = <10000>;
	};

	temperature-Tg3i {
		apple,key-id = "Tg3i";
		label = "GPU Tg3i";
		apple,no-data-below-millicelsius = <10000>;
	};

	temperature-Tg3q {
		apple,key-id = "Tg3q";
		label = "GPU Tg3q";
		apple,no-data-below-millicelsius = <10000>;
	};

	power-PSTR {
		apple,key-id = "PSTR";
		label = "Total System Power";
	};

	power-PHPC {
		apple,key-id = "PHPC";
		label = "Heatpipe Power";
	};

	power-PDTR {
		apple,key-id = "PDTR";
		label = "AC Input Power";
	};

	voltage-VD0R {
		apple,key-id = "VD0R";
		label = "AC Input Voltage";
	};

	voltage-SBAV {
		apple,key-id = "SBAV";
		label = "Battery Voltage";
	};

	current-ID0R {
		apple,key-id = "ID0R";
		label = "AC Input Current";
	};
};

&pinctrl {
	status = "okay";

	wifi_clkreq_pins: wifi-clkreq-pins {
		pinmux = <APPLE_PINMUX(0, 1)>;
	};
};

&pinctrl_nub {
	status = "okay";
	/delete-property/ interrupt-controller;
	/delete-property/ #interrupt-cells;
	/delete-property/ interrupts;
};

&mtp {
	status = "okay";
};

&mtp_mbox {
	status = "okay";
};

&mtp_dart {
	status = "okay";
};

&mtp_dockchannel {
	status = "okay";
};

&mtp_hid {
	compatible = "apple,dockchannel-hid";
	apple,afe-reset-gpios = <&smc_gpio_low 25 GPIO_ACTIVE_LOW>;
	apple,stm-reset-gpios = <&smc_gpio_low 26 GPIO_ACTIVE_LOW>;

	multi-touch {
		apple,power-method = <2>;
	};

	keyboard: keyboard {
		hid-country-code = <0>;
		apple,keyboard-layout-id = <0>;
	};

	stm {
	};

	actuator {
	};

	tp-accel {
	};

	mtp {
	};
};

&pcie_dart {
	status = "okay";
};

/ {
	pcie0: pcie@1cb0000000 {
		compatible = "apple,t6041-pcie", "apple,t6020-pcie";
		reg = <0x1c 0xb0000000 0x0 0x1000000>,
		      <0x4 0x14000000 0x0 0x4000>,
		      <0x4 0x10028000 0x0 0x4000>,
		      <0x4 0x11028000 0x0 0x4000>,
		      <0x4 0x12028000 0x0 0x4000>,
		      <0x4 0x13028000 0x0 0x4000>,
		      <0x4 0x17020000 0x0 0x4000>,
		      <0x4 0x17024000 0x0 0x4000>,
		      <0x4 0x17028000 0x0 0x4000>,
		      <0x4 0x1702c000 0x0 0x4000>;
		reg-names = "config", "rc",
			    "port0", "port1", "port2", "port3",
			    "phy0", "phy1", "phy2", "phy3";
		ranges = <0x43000000 0xb 0xc0000000 0xb 0xc0000000 0x0 0x20000000>,
			 <0x02000000 0x0 0x80000000 0xb 0x80000000 0x0 0x40000000>;
		pinctrl-names = "default";
		pinctrl-0 = <&wifi_clkreq_pins>;
		#address-cells = <3>;
		#size-cells = <2>;
		bus-range = <0 1>;
		iommu-map-mask = <0xffff>;
		iommu-map = <0x100 &pcie_dart 1 2>;
		msi-ranges = <&aic AIC_IRQ 2071 IRQ_TYPE_EDGE_RISING 32>;
		msi-parent = <&pcie0>;
		msi-controller;
		interrupts = <AIC_IRQ 1723 IRQ_TYPE_LEVEL_HIGH>;
		interrupt-parent = <&aic>;
		device_type = "pci";

		port00: pci@0,0 {
			reg = <0 0 0 0 0>;
			ranges;
			interrupt-map = <0 0 0 1 &port00 0 0 0 0>,
					<0 0 0 2 &port00 0 0 0 1>,
					<0 0 0 3 &port00 0 0 0 2>,
					<0 0 0 4 &port00 0 0 0 3>;
			interrupt-map-mask = <0 0 0 7>;
			#interrupt-cells = <1>;
			interrupt-controller;
			#address-cells = <3>;
			#size-cells = <2>;
			pwren-gpios = <&smc_gpio 0x13 GPIO_ACTIVE_HIGH>;
			reset-gpios = <&pinctrl 4 GPIO_ACTIVE_LOW>;
			device_type = "pci";

			bluetooth0: bluetooth@0,1 {
				compatible = "pci14e4,5f72";
				reg = <0x100 0 0 0 0>;
				local-bd-address = [00 00 00 00 00 00];
				status = "okay";
			};

			wifi0: wifi@0,0 {
				compatible = "pci14e4,4434", "brcm,bcm4329-fmac";
				reg = <0 0 0 0 0>;
				brcm,ccode-map-trivial;
			};
		};
	};
};

&ans_mbox {
	status = "okay";
};

&ans_sart {
	status = "okay";
};

&nvme {
	status = "okay";
};

/*
 * As on the J616s, the display gate enables the display subsystem, the DCP,
 * its DARTs, mailbox and panel once the boot loader has handed the internal
 * display over (apple,t6041-handoff); otherwise the boot framebuffer stays.
 */
&display {
	phandle = <&display>;
};

&dcp {
	clocks = <&clk_disp0>;
	phandle = <&dcp>;

	panel: panel {
		apple,max-brightness = <500>;
		status = "disabled";
	};
};

&disp0_piodma {
	phandle = <&disp0_piodma>;
};

&nub_spmi_a0 {
	status = "okay";

	/*
	 * The left-back port and the MagSafe controller, as on the M4 Pro boards.
	 * The J614c's ADT has nub-spmi-a0 hpm0 (left-back, port 1, 0xc) and hpm5
	 * (0x8) with the J614s's event, sleep and wake interrupts.
	 */
	hpm0: usb-pd@c {
		compatible = "apple,sn201202x";
		reg = <0xc SPMI_USID>;
		interrupts = <11 IRQ_TYPE_EDGE_RISING>,
			     <13 IRQ_TYPE_EDGE_RISING>,
			     <17 IRQ_TYPE_EDGE_RISING>,
			     <19 IRQ_TYPE_EDGE_RISING>;
		interrupt-names = "irq", "select", "sleep", "wake";

		typec0: connector {
			compatible = "usb-c-connector";
			label = "USB-C Left Back";
			power-role = "dual";
			data-role = "dual";

			ports {
				#address-cells = <1>;
				#size-cells = <0>;

				port@0 {
					reg = <0>;
					typec0_connector_hs: endpoint {
						remote-endpoint = <&dwc3_0_hs>;
					};
				};

				port@1 {
					reg = <1>;
					typec0_connector_ss: endpoint {
						remote-endpoint = <&atcphy0_ss>;
					};
				};
			};
		};
	};

	/* MagSafe port */
	hpm5: usb-pd@8 {
		compatible = "apple,sn201202x";
		reg = <0x8 SPMI_USID>;
		interrupts = <63 IRQ_TYPE_EDGE_RISING>,
			     <65 IRQ_TYPE_EDGE_RISING>,
			     <69 IRQ_TYPE_EDGE_RISING>,
			     <71 IRQ_TYPE_EDGE_RISING>;
		interrupt-names = "irq", "select", "sleep", "wake";
	};

	hpm1: usb-pd@a {
		compatible = "apple,sn201202x";
		reg = <0xa SPMI_USID>;
		interrupts = <37 IRQ_TYPE_EDGE_RISING>,
			     <39 IRQ_TYPE_EDGE_RISING>,
			     <43 IRQ_TYPE_EDGE_RISING>,
			     <45 IRQ_TYPE_EDGE_RISING>;
		interrupt-names = "irq", "select", "sleep", "wake";

		typec1: connector {
			compatible = "usb-c-connector";
			label = "USB-C Left Front";
			power-role = "dual";
			data-role = "dual";

			ports {
				#address-cells = <1>;
				#size-cells = <0>;

				port@0 {
					reg = <0>;
					typec1_connector_hs: endpoint {
						remote-endpoint = <&dwc3_1_hs>;
					};
				};

				port@1 {
					reg = <1>;
					typec1_connector_ss: endpoint {
						remote-endpoint = <&atcphy1_ss>;
					};
				};
			};
		};
	};
};

&nub_spmi_a1 {
	status = "okay";

	hpm2: usb-pd@c {
		compatible = "apple,sn201202x";
		reg = <0xc SPMI_USID>;
		interrupts = <11 IRQ_TYPE_EDGE_RISING>,
			     <13 IRQ_TYPE_EDGE_RISING>,
			     <17 IRQ_TYPE_EDGE_RISING>,
			     <19 IRQ_TYPE_EDGE_RISING>;
		interrupt-names = "irq", "select", "sleep", "wake";

		typec2: connector {
			compatible = "usb-c-connector";
			label = "USB-C Right";
			power-role = "dual";
			data-role = "dual";

			ports {
				#address-cells = <1>;
				#size-cells = <0>;

				port@0 {
					reg = <0>;
					typec2_connector_hs: endpoint {
						remote-endpoint = <&dwc3_2_hs>;
					};
				};

				port@1 {
					reg = <1>;
					typec2_connector_ss: endpoint {
						remote-endpoint = <&atcphy2_ss>;
					};
				};
			};
		};
	};
};

/*
 * USB 3 on the three USB-C ports. The loader appends the PHY and controller
 * tunables from the ADT, as on the M4 Pro, and disables a port it can't tune.
 */
&atcphy0 {
	status = "okay";

	ports {
		#address-cells = <1>;
		#size-cells = <0>;

		port@0 {
			reg = <0>;
			atcphy0_ss: endpoint {
				remote-endpoint = <&typec0_connector_ss>;
			};
		};

		port@1 {
			reg = <1>;
			atcphy0_usb3: endpoint {
				remote-endpoint = <&dwc3_0_ss>;
			};
		};
	};
};

&atcphy0_mbox {
	status = "okay";
};

&dwc3_0_dart_0 {
	status = "okay";
};

&dwc3_0_dart_1 {
	status = "okay";
};

&dwc3_0 {
	status = "okay";

	ports {
		#address-cells = <1>;
		#size-cells = <0>;

		port@0 {
			reg = <0>;
			dwc3_0_hs: endpoint {
				remote-endpoint = <&typec0_connector_hs>;
			};
		};

		port@1 {
			reg = <1>;
			dwc3_0_ss: endpoint {
				remote-endpoint = <&atcphy0_usb3>;
			};
		};
	};
};

&atcphy1 {
	status = "okay";

	ports {
		#address-cells = <1>;
		#size-cells = <0>;

		port@0 {
			reg = <0>;
			atcphy1_ss: endpoint {
				remote-endpoint = <&typec1_connector_ss>;
			};
		};

		port@1 {
			reg = <1>;
			atcphy1_usb3: endpoint {
				remote-endpoint = <&dwc3_1_ss>;
			};
		};
	};
};

&atcphy1_mbox {
	status = "okay";
};

&dwc3_1_dart_0 {
	status = "okay";
};

&dwc3_1_dart_1 {
	status = "okay";
};

&dwc3_1 {
	status = "okay";

	ports {
		#address-cells = <1>;
		#size-cells = <0>;

		port@0 {
			reg = <0>;
			dwc3_1_hs: endpoint {
				remote-endpoint = <&typec1_connector_hs>;
			};
		};

		port@1 {
			reg = <1>;
			dwc3_1_ss: endpoint {
				remote-endpoint = <&atcphy1_usb3>;
			};
		};
	};
};

&atcphy2 {
	status = "okay";

	ports {
		#address-cells = <1>;
		#size-cells = <0>;

		port@0 {
			reg = <0>;
			atcphy2_ss: endpoint {
				remote-endpoint = <&typec2_connector_ss>;
			};
		};

		port@1 {
			reg = <1>;
			atcphy2_usb3: endpoint {
				remote-endpoint = <&dwc3_2_ss>;
			};
		};
	};
};

&atcphy2_mbox {
	status = "okay";
};

&dwc3_2_dart_0 {
	status = "okay";
};

&dwc3_2_dart_1 {
	status = "okay";
};

&dwc3_2 {
	status = "okay";

	ports {
		#address-cells = <1>;
		#size-cells = <0>;

		port@0 {
			reg = <0>;
			dwc3_2_hs: endpoint {
				remote-endpoint = <&typec2_connector_hs>;
			};
		};

		port@1 {
			reg = <1>;
			dwc3_2_ss: endpoint {
				remote-endpoint = <&atcphy2_usb3>;
			};
		};
	};
};

/ {
	reserved-memory {
		#address-cells = <2>;
		#size-cells = <2>;
		ranges;

		gpu_uat_ttbs: uat-ttbs {
			no-map;
			status = "disabled";
		};

		gpu_uat_pagetables: uat-pagetables {
			no-map;
			status = "disabled";
		};

		gpu_uat_l2_pagetables: uat-l2-pagetables {
			no-map;
			status = "disabled";
		};

		gpu_uat_handoff: uat-handoff {
			no-map;
			status = "disabled";
		};

		gpu_fw_text: gpu-fw-text {
			no-map;
			status = "disabled";
		};

		gpu_fw_data: gpu-fw-data {
			no-map;
			status = "disabled";
		};
	};

	gpu_opp: opp-table-gpu {
		compatible = "operating-points-v2";

		opp00 {
			opp-hz = /bits/ 64 <0>;
			opp-microvolt = <125000 125000 125000 125000>;
		};

		opp01 {
			opp-hz = /bits/ 64 <338000000>;
			opp-microvolt = <600000 600000 600000 600000>;
		};

		opp02 {
			opp-hz = /bits/ 64 <618000000>;
			opp-microvolt = <665000 665000 660000 660000>;
		};

		opp03 {
			opp-hz = /bits/ 64 <796000000>;
			opp-microvolt = <705000 705000 700000 705000>;
		};

		opp04 {
			opp-hz = /bits/ 64 <924000000>;
			opp-microvolt = <725000 725000 715000 730000>;
		};

		opp05 {
			opp-hz = /bits/ 64 <952000000>;
			opp-microvolt = <770000 770000 770000 780000>;
		};

		opp06 {
			opp-hz = /bits/ 64 <1056000000>;
			opp-microvolt = <770000 770000 770000 780000>;
		};

		opp07 {
			opp-hz = /bits/ 64 <1062000000>;
			opp-microvolt = <810000 810000 805000 810000>;
		};

		opp08 {
			opp-hz = /bits/ 64 <1182000000>;
			opp-microvolt = <810000 810000 805000 810000>;
		};

		opp09 {
			opp-hz = /bits/ 64 <1182000000>;
			opp-microvolt = <860000 860000 860000 860000>;
		};

		opp10 {
			opp-hz = /bits/ 64 <1312000000>;
			opp-microvolt = <860000 860000 860000 860000>;
		};

		opp11 {
			opp-hz = /bits/ 64 <1242000000>;
			opp-microvolt = <900000 895000 900000 900000>;
		};

		opp12 {
			opp-hz = /bits/ 64 <1380000000>;
			opp-microvolt = <900000 895000 900000 900000>;
		};

		opp13 {
			opp-hz = /bits/ 64 <1326000000>;
			opp-microvolt = <940000 925000 940000 940000>;
		};

		opp14 {
			opp-hz = /bits/ 64 <1470000000>;
			opp-microvolt = <940000 925000 940000 940000>;
		};

		opp15 {
			opp-hz = /bits/ 64 <1578000000>;
			opp-microvolt = <1020000 1020000 1020000 1020000>;
		};
	};

	gpu_cs_opp: opp-table-gpucs {
		compatible = "operating-points-v2";

		opp00 {
			opp-hz = /bits/ 64 <24000000>;
			opp-microvolt = <585000>;
		};

		opp01 {
			opp-hz = /bits/ 64 <338000000>;
			opp-microvolt = <585000>;
		};

		opp02 {
			opp-hz = /bits/ 64 <618000000>;
			opp-microvolt = <635000>;
		};

		opp03 {
			opp-hz = /bits/ 64 <796000000>;
			opp-microvolt = <685000>;
		};

		opp04 {
			opp-hz = /bits/ 64 <992000000>;
			opp-microvolt = <720000>;
		};

		opp05 {
			opp-hz = /bits/ 64 <1188000000>;
			opp-microvolt = <770000>;
		};

		opp06 {
			opp-hz = /bits/ 64 <1380000000>;
			opp-microvolt = <855000>;
		};

		opp07 {
			opp-hz = /bits/ 64 <1470000000>;
			opp-microvolt = <885000>;
		};
	};

	gpu_afr_opp: opp-table-gpuafr {
		compatible = "operating-points-v2";

		opp00 {
			opp-hz = /bits/ 64 <24000000>;
			opp-microvolt = <585000>;
		};

		opp01 {
			opp-hz = /bits/ 64 <338000000>;
			opp-microvolt = <585000>;
		};

		opp02 {
			opp-hz = /bits/ 64 <618000000>;
			opp-microvolt = <635000>;
		};

		opp03 {
			opp-hz = /bits/ 64 <796000000>;
			opp-microvolt = <685000>;
		};

		opp04 {
			opp-hz = /bits/ 64 <992000000>;
			opp-microvolt = <720000>;
		};

		opp05 {
			opp-hz = /bits/ 64 <1188000000>;
			opp-microvolt = <770000>;
		};

		opp06 {
			opp-hz = /bits/ 64 <1380000000>;
			opp-microvolt = <855000>;
		};

		opp07 {
			opp-hz = /bits/ 64 <1470000000>;
			opp-microvolt = <885000>;
		};
	};
};

&gpu {
		memory-region = <&gpu_uat_ttbs>, <&gpu_uat_pagetables>,
				<&gpu_uat_handoff>, <&gpu_fw_data>,
				<&gpu_uat_l2_pagetables>, <&gpu_fw_text>;
		memory-region-names = "ttbs", "pagetables", "handoff", "fw-data",
				      "l2-pagetables", "fw-text";
		operating-points-v2 = <&gpu_opp>;
		apple,cs-opp = <&gpu_cs_opp>;
		apple,afr-opp = <&gpu_afr_opp>;
		apple,firmware-version = <26 5 2>;
};

/ {
	aliases {
		aop = &aop;
	};

	speaker_sdz: regulator-sn012776-sdz {
		compatible = "regulator-fixed";
		regulator-name = "sn012776-sdz";
		gpios = <&pinctrl 54 GPIO_ACTIVE_HIGH>;
		enable-active-high;
	};

	sound: sound {
		#address-cells = <1>;
		#size-cells = <0>;

		dai-link@0 {
			reg = <0>;
			link-name = "Speakers";
			dai-tdm-idle-mode-0 = "zero";
			dai-tdm-idle-mode-1 = "zero";
			dai-tdm-slot-tx-idle-mask-0 = <0xf0f0f0>;
			dai-tdm-slot-tx-idle-mask-1 = <0x0f0f0f>;

			cpu {
				sound-dai = <&aop_audio 3>;
			};

			codec {
				sound-dai = <&speaker_left_woof1>, <&speaker_right_woof1>,
					    <&speaker_left_woof2>, <&speaker_right_woof2>,
					    <&speaker_left_tweet>, <&speaker_right_tweet>;
			};
		};
	};

	sound_jack: sound-jack {
		#address-cells = <1>;
		#size-cells = <0>;

		dai-link@0 {
			reg = <0>;
			link-name = "Headphone Jack";

			cpu {
				sound-dai = <&aop_audio 4>;
			};

			codec {
				sound-dai = <&jack_codec>;
			};
		};
	};
};

&aop {
	nonposted-mmio;
	memory-region = <&aop_mmio_pmgr>;
	status = "okay";
};

&aop_mbox {
	status = "okay";
};

&aop_dart {
	nonposted-mmio;
	status = "okay";
};

&admac0 {
	nonposted-mmio;
	status = "okay";
};

&admac1 {
	dma-channels = <26>;
	nonposted-mmio;
	status = "okay";
};

&aop_audio {
	apple,machine-kind = "MacBook Pro";
};

&i2c1 {
	nonposted-mmio;
	status = "okay";

	speaker_left_woof1: codec@38 {
		compatible = "ti,sn012776", "ti,tas2764";
		reg = <0x38>;
		SDZ-supply = <&speaker_sdz>;
		apple,sdz-group-fail-closed;
		#sound-dai-cells = <0>;
		sound-name-prefix = "Left Woofer 1";
		interrupts-extended = <&pinctrl 55 IRQ_TYPE_LEVEL_LOW>;
		ti,imon-slot-no = <0>;
		ti,vmon-slot-no = <2>;
	};

	speaker_left_woof2: codec@39 {
		compatible = "ti,sn012776", "ti,tas2764";
		reg = <0x39>;
		SDZ-supply = <&speaker_sdz>;
		apple,sdz-group-fail-closed;
		#sound-dai-cells = <0>;
		sound-name-prefix = "Left Woofer 2";
		interrupts-extended = <&pinctrl 55 IRQ_TYPE_LEVEL_LOW>;
		ti,imon-slot-no = <8>;
		ti,vmon-slot-no = <10>;
	};

	speaker_left_tweet: codec@3a {
		compatible = "ti,sn012776", "ti,tas2764";
		reg = <0x3a>;
		SDZ-supply = <&speaker_sdz>;
		apple,sdz-group-fail-closed;
		#sound-dai-cells = <0>;
		sound-name-prefix = "Left Tweeter";
		interrupts-extended = <&pinctrl 55 IRQ_TYPE_LEVEL_LOW>;
		ti,imon-slot-no = <16>;
		ti,vmon-slot-no = <18>;
	};
};

&i2c3 {
	nonposted-mmio;
	status = "okay";

	speaker_right_woof1: codec@3b {
		compatible = "ti,sn012776", "ti,tas2764";
		reg = <0x3b>;
		SDZ-supply = <&speaker_sdz>;
		apple,sdz-group-fail-closed;
		#sound-dai-cells = <0>;
		sound-name-prefix = "Right Woofer 1";
		interrupts-extended = <&pinctrl 55 IRQ_TYPE_LEVEL_LOW>;
		ti,imon-slot-no = <4>;
		ti,vmon-slot-no = <6>;
	};

	speaker_right_woof2: codec@3c {
		compatible = "ti,sn012776", "ti,tas2764";
		reg = <0x3c>;
		SDZ-supply = <&speaker_sdz>;
		apple,sdz-group-fail-closed;
		#sound-dai-cells = <0>;
		sound-name-prefix = "Right Woofer 2";
		interrupts-extended = <&pinctrl 55 IRQ_TYPE_LEVEL_LOW>;
		ti,imon-slot-no = <12>;
		ti,vmon-slot-no = <14>;
	};

	speaker_right_tweet: codec@3d {
		compatible = "ti,sn012776", "ti,tas2764";
		reg = <0x3d>;
		SDZ-supply = <&speaker_sdz>;
		apple,sdz-group-fail-closed;
		#sound-dai-cells = <0>;
		sound-name-prefix = "Right Tweeter";
		interrupts-extended = <&pinctrl 55 IRQ_TYPE_LEVEL_LOW>;
		ti,imon-slot-no = <20>;
		ti,vmon-slot-no = <22>;
	};
};

&i2c2 {
	nonposted-mmio;
	status = "okay";

	jack_codec: codec@4b {
		compatible = "cirrus,cs42l84";
		reg = <0x4b>;
		reset-gpios = <&pinctrl_nub 58 GPIO_ACTIVE_HIGH>;
		#sound-dai-cells = <0>;
		interrupts-extended = <&pinctrl 106 IRQ_TYPE_LEVEL_LOW>;
		sound-name-prefix = "Jack";
	};
};

&aop_als {
	status = "disabled";
};

&aop_las {
	status = "disabled";
};

/ {
	reserved-memory {
		aop_mmio_pmgr: aop-mmio-pmgr@508304000 {
			reg = <0x5 0x08304000 0x0 0x4000>;
			iommu-addresses = <&aop 0x5 0x08304000 0x0 0x4000>;
			no-map;
		};
	};
};

&sep_mbox {
	status = "okay";
};

&spi2 {
	status = "okay";
};

&mesa {
	enable-gpios = <&pinctrl_nub 53 GPIO_ACTIVE_HIGH>;
	interrupt-parent = <&pinctrl>;
	interrupts = <116 IRQ_TYPE_EDGE_RISING>;
	spi-cs-setup-delay-ns = <20>;
	spi-cs-hold-delay-ns = <20>;
	status = "okay";
};

#include "hwmon-fan-dual.dtsi"

&smc_hwmon {
	fan-F0Ac {
		apple,fan-manual-control;
	};

	fan-F1Ac {
		apple,fan-manual-control;
	};
};

#include "t604x-extdisp.dtsi"

/delete-node/ &atcphy0_xbar;
/delete-node/ &atcphy2_xbar;

#include "t6041-j616c-hdmi.dtsi"
#include "t6041-j616c-usbc.dtsi"
